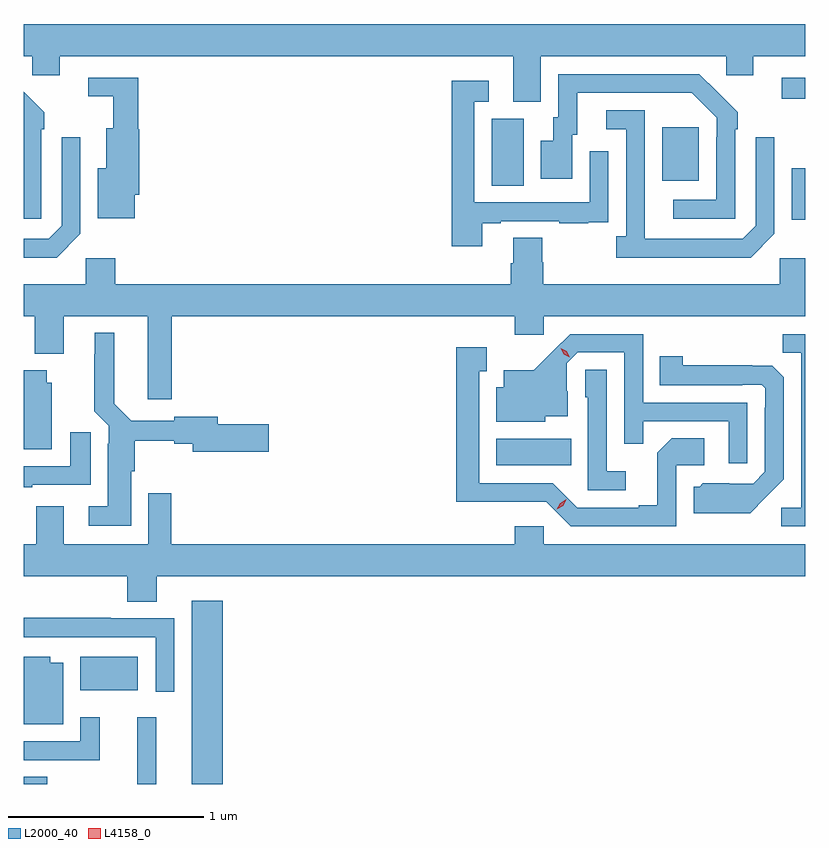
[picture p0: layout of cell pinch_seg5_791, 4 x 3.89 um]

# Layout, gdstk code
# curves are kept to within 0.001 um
import gdstk
lib = gdstk.Library(unit=1e-6, precision=1e-09)
def R(c, l, rs):  # rectangles x0, y0, x1, y1
    for r in rs: c.add(gdstk.rectangle(r[:2], r[2:], *l))
def P(c, l, *ps):  # polygons
    for p in ps: c.add(gdstk.Polygon(p, *l))
L2000_40 = (2000, 40)
L4158_0 = (4158, 0)

pinch_seg5_791 = lib.new_cell('pinch_seg5_791')
R(pinch_seg5_791, L2000_40, [(780.307,906.313,780.426,906.35), (780.887,906.313,780.986,906.655), (781.166,906.313,781.325,907.252), (780.596,906.794,780.889,906.964), (782.726,907.946,783.11,908.08), (784.238,909.202,784.307,909.466), (782.702,909.376,782.866,909.72), (783.575,909.401,783.763,909.676), (784.188,909.822,784.307,909.93)])
P(pinch_seg5_791, L2000_40, [(782.953,910.04),(783.903,910.04),(783.903,909.942),(784.042,909.942),(784.042,910.04),(784.307,910.04),(784.307,910.204),(780.307,910.204),(780.307,910.04),(780.351,910.04),(780.351,909.942),(780.49,909.942),(780.49,910.04),(782.813,910.04),(782.813,909.805),(782.953,909.805)],
  [(783.948,909.665),(783.963,909.665),(783.963,909.753),(783.766,909.948),(783.042,909.948),(783.042,909.726),(783.017,909.726),(783.017,909.607),(782.954,909.607),(782.954,909.411),(783.115,909.411),(783.115,909.636),(783.139,909.636),(783.139,909.852),(783.727,909.852),(783.855,909.723),(783.855,909.623),(783.852,909.623),(783.852,909.303),(783.633,909.303),(783.633,909.207),(783.948,909.207)],
  [(780.874,909.33),(780.899,909.33),(780.899,909.666),(780.893,909.666),(780.893,909.93),(780.636,909.93),(780.636,909.833),(780.765,909.833),(780.765,909.67),(780.728,909.67),(780.728,909.466),(780.686,909.466),(780.686,909.209),(780.874,909.209)],
  [(782.653,909.183),(782.749,909.183),(782.749,909.195),(783.049,909.195),(783.049,909.183),(783.197,909.183),(783.197,909.189),(783.299,909.189),(783.299,909.298),(783.3,909.298),(783.3,909.553),(783.204,909.553),(783.204,909.291),(782.613,909.291),(782.613,909.807),(782.686,909.807),(782.686,909.913),(782.497,909.913),(782.497,909.066),(782.653,909.066)],
  [(780.396,909.665),(780.411,909.665),(780.411,909.753),(780.307,909.857),(780.307,909.207),(780.396,909.207)],
  [(784.149,909.129),(784.149,909.625),(784.053,909.625),(784.053,909.171),(783.987,909.105),(783.487,909.105),(783.486,909.762),(783.288,909.762),(783.288,909.666),(783.39,909.666),(783.39,909.118),(783.339,909.118),(783.339,909.008),(784.028,909.008)],
  [(780.597,909.129),(780.597,909.625),(780.501,909.625),(780.501,909.171),(780.435,909.105),(780.307,909.105),(780.307,909.008),(780.476,909.008)],
  [(780.776,909.004),(780.624,909.004),(780.624,908.872),(780.307,908.872),(780.307,908.708),(780.364,908.708),(780.364,908.516),(780.511,908.516),(780.511,908.708),(780.941,908.708),(780.941,908.283),(781.064,908.283),(781.064,908.708),(782.819,908.708),(782.819,908.613),(782.97,908.613),(782.97,908.708),(784.307,908.708),(784.307,909.004),(784.176,909.004),(784.176,908.872),(782.966,908.872),(782.966,908.985),(782.961,908.985),(782.961,909.11),(782.813,909.11),(782.813,908.978),(782.801,908.978),(782.801,908.872),(780.776,908.872)],
  [(780.856,907.914),(780.874,907.914),(780.874,908.071),(781.076,908.071),(781.076,908.056),(781.172,908.056),(781.172,908.014),(781.561,908.014),(781.561,908.156),(781.3,908.156),(781.3,908.192),(781.076,908.192),(781.076,908.172),(780.856,908.172),(780.769,908.26),(780.769,908.623),(780.671,908.623),(780.671,908.513),(780.667,908.513),(780.667,908.222),(780.741,908.148),(780.741,908.054),(780.737,908.054),(780.737,907.735),(780.639,907.735),(780.639,907.634),(780.856,907.634)],
  [(784.307,908.616),(784.192,908.616),(784.192,908.521),(784.287,908.521),(784.287,907.728),(784.185,907.728),(784.185,907.632),(784.307,907.632)],
  [(784.011,908.265),(783.477,908.265),(783.477,908.616),(783.104,908.616),(782.917,908.431),(782.765,908.431),(782.765,908.344),(782.726,908.344),(782.726,908.168),(782.976,908.168),(782.976,908.195),(783.091,908.195),(783.091,908.324),(783.087,908.324),(783.087,908.466),(783.144,908.523),(783.381,908.523),(783.381,908.056),(783.479,908.056),(783.479,908.169),(783.915,908.169),(783.915,907.956),(784.011,907.956)],
  [(783.648,907.944),(783.79,907.944),(783.79,908.084),(783.625,908.084),(783.549,908.008),(783.549,907.741),(783.455,907.741),(783.455,907.728),(783.141,907.728),(783.015,907.854),(782.638,907.854),(782.638,908.427),(782.677,908.427),(782.677,908.548),(782.52,908.548),(782.52,907.757),(782.982,907.758),(783.108,907.632),(783.648,907.632)],
  [(784.105,907.781),(784.197,907.874),(784.197,908.396),(784.138,908.455),(783.681,908.456),(783.681,908.503),(783.562,908.503),(783.562,908.355),(783.986,908.355),(783.986,908.358),(784.086,908.358),(784.104,908.34),(784.104,908.24),(784.101,908.24),(784.101,907.911),(784.041,907.851),(783.784,907.852),(783.768,907.836),(783.737,907.836),(783.737,907.7),(784.025,907.7)],
  [(783.388,907.915),(783.291,907.915),(783.291,908.435),(783.18,908.435),(783.18,908.292),(783.195,908.292),(783.195,907.818),(783.388,907.818)],
  [(780.451,908.367),(780.424,908.367),(780.424,908.431),(780.307,908.431),(780.307,908.026),(780.451,908.026)],
  [(780.349,907.845),(780.649,907.845),(780.649,908.113),(780.545,908.113),(780.545,907.941),(780.307,907.941),(780.307,907.833),(780.349,907.833)],
  [(780.988,907.376),(784.307,907.376),(784.307,907.54),(782.97,907.54),(782.97,907.633),(782.819,907.633),(782.819,907.54),(781.061,907.54),(781.061,907.801),(780.945,907.801),(780.945,907.54),(780.511,907.54),(780.511,907.735),(780.371,907.735),(780.371,907.54),(780.307,907.54),(780.307,907.376),(780.836,907.376),(780.836,907.246),(780.988,907.246)],
  [(781.077,907.161),(780.752,907.161),(780.752,907.163),(780.307,907.163),(780.307,907.065),(780.981,907.065),(780.981,906.786),(781.077,906.786)],
  [(780.508,906.934),(780.442,906.934),(780.442,906.964),(780.307,906.964),(780.307,906.62),(780.508,906.62)],
  [(780.695,906.655),(780.597,906.655),(780.597,906.531),(780.307,906.531),(780.307,906.435),(780.695,906.435)])
P(pinch_seg5_791, L4158_0, [(783.103,908.499),(783.072,908.514),(783.055,908.544),(783.055,908.544),(783.056,908.544),(783.086,908.528),(783.103,908.499),(783.103,908.499)],
  [(783.036,907.719),(783.036,907.719),(783.053,907.751),(783.085,907.77),(783.085,907.77),(783.085,907.77),(783.068,907.738),(783.036,907.719)])

lib.write_gds('pinch_seg5_791.gds')
